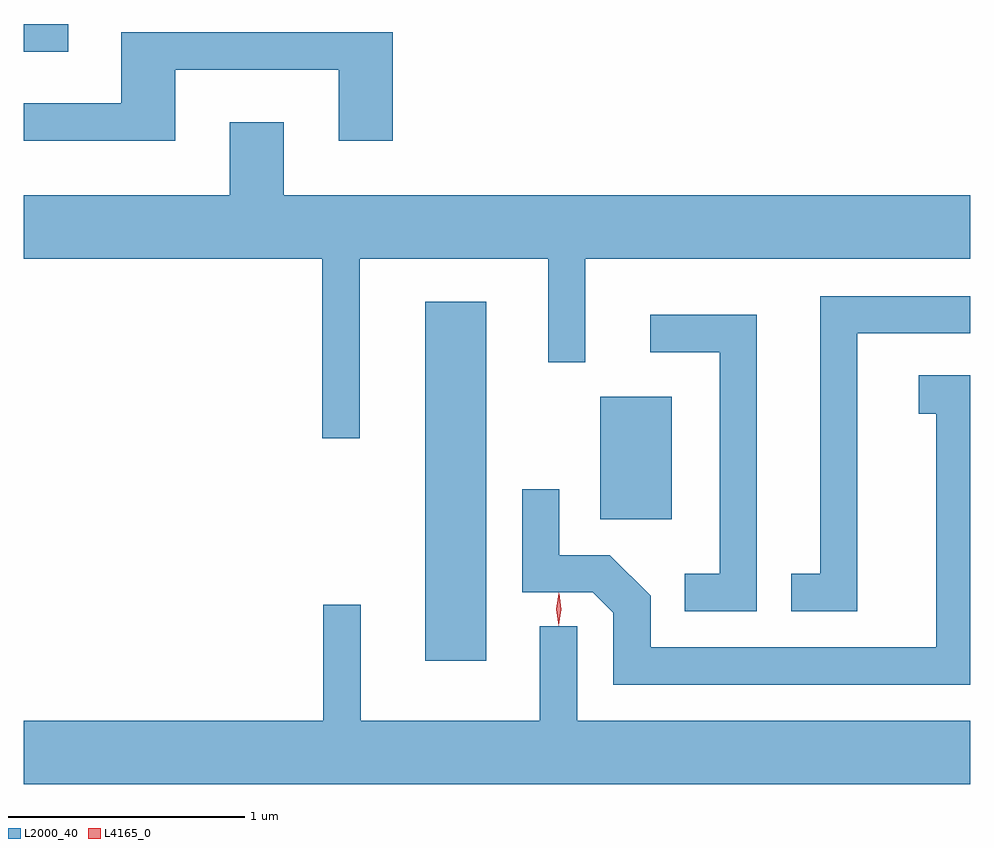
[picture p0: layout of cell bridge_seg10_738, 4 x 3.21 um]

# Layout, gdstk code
import gdstk
lib = gdstk.Library(unit=1e-6, precision=1e-09)
def R(c, l, rs):  # rectangles x0, y0, x1, y1
    for r in rs: c.add(gdstk.rectangle(r[:2], r[2:], *l))
def P(c, l, *ps):  # polygons
    for p in ps: c.add(gdstk.Polygon(p, *l))
L2000_40 = (2000, 40)
L4165_0 = (4165, 0)

bridge_seg10_738 = lib.new_cell('bridge_seg10_738')
R(bridge_seg10_738, L2000_40, [(525.666,2098.896,525.924,2100.414), (526.406,2099.496,526.709,2100.014), (523.97,2101.471,524.158,2101.589)])
P(bridge_seg10_738, L2000_40, [(524.609,2101.396),(525.301,2101.396),(525.301,2101.096),(525.529,2101.096),(525.529,2101.554),(524.381,2101.554),(524.381,2101.254),(523.97,2101.254),(523.97,2101.096),(524.609,2101.096)],
  [(525.389,2100.596),(526.186,2100.596),(526.186,2100.158),(526.344,2100.158),(526.344,2100.596),(527.97,2100.596),(527.97,2100.864),(525.069,2100.864),(525.069,2101.174),(524.841,2101.174),(524.841,2100.864),(523.97,2100.864),(523.97,2100.596),(525.231,2100.596),(525.231,2099.838),(525.389,2099.838)],
  [(527.494,2100.281),(527.97,2100.281),(527.97,2100.439),(527.336,2100.439),(527.336,2099.264),(527.213,2099.264),(527.213,2099.106),(527.494,2099.106)],
  [(527.069,2100.359),(526.618,2100.359),(526.618,2100.201),(526.911,2100.201),(526.911,2099.264),(526.763,2099.264),(526.763,2099.106),(527.069,2099.106)],
  [(527.97,2100.104),(527.753,2100.104),(527.753,2099.941),(527.826,2099.941),(527.826,2098.954),(526.619,2098.954),(526.619,2099.172),(526.447,2099.344),(526.234,2099.344),(526.234,2099.623),(526.076,2099.623),(526.076,2099.186),(526.374,2099.186),(526.461,2099.099),(526.461,2098.796),(527.97,2098.796)],
  [(527.97,2098.644),(526.309,2098.644),(526.309,2099.043),(526.151,2099.043),(526.151,2098.644),(525.394,2098.644),(525.394,2099.133),(525.236,2099.133),(525.236,2098.644),(523.97,2098.644),(523.97,2098.376),(527.97,2098.376)])
P(bridge_seg10_738, L4165_0, [(526.23,2099.044),(526.23,2099.045),(526.22,2099.114),(526.23,2099.183),(526.231,2099.184),(526.231,2099.183),(526.24,2099.114),(526.23,2099.045)],
  [(526.23,2099.048),(526.222,2099.114),(526.232,2099.18),(526.232,2099.181),(526.233,2099.18),(526.241,2099.114),(526.231,2099.048),(526.231,2099.048)])

lib.write_gds('bridge_seg10_738.gds')
